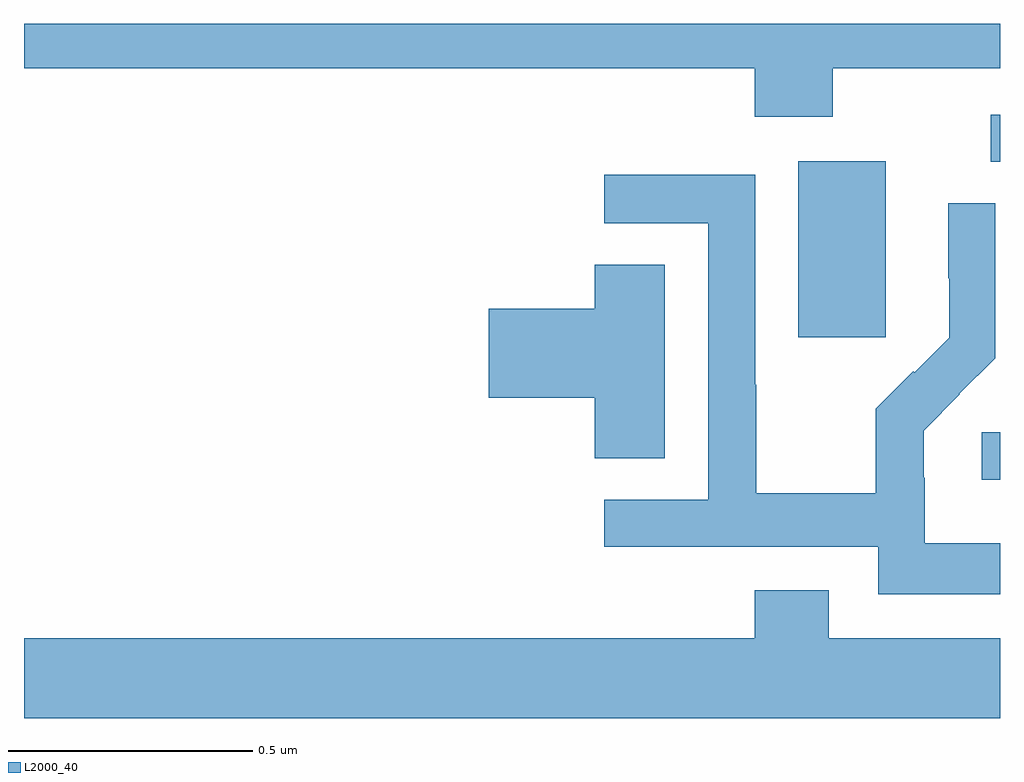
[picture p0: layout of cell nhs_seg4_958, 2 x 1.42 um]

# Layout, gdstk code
import gdstk
lib = gdstk.Library(unit=1e-6, precision=1e-09)
def R(c, l, rs):  # rectangles x0, y0, x1, y1
    for r in rs: c.add(gdstk.rectangle(r[:2], r[2:], *l))
def P(c, l, *ps):  # polygons
    for p in ps: c.add(gdstk.Polygon(p, *l))
L2000_40 = (2000, 40)

nhs_seg4_958 = lib.new_cell('nhs_seg4_958')
R(nhs_seg4_958, L2000_40, [(123.963,807.965,124,808.062), (123.587,808.257,123.766,808.618), (123.981,808.617,124,808.713)])
P(nhs_seg4_958, L2000_40, [(123.657,808.808),(124,808.808),(124,808.9),(122,808.9),(122,808.808),(123.497,808.808),(123.497,808.709),(123.657,808.709)],
  [(124,807.835),(123.846,807.835),(123.846,807.969),(123.844,807.969),(123.844,808.066),(123.918,808.14),(123.917,808.141),(123.99,808.214),(123.99,808.532),(123.894,808.532),(123.894,808.378),(123.896,808.378),(123.896,808.256),(123.825,808.185),(123.822,808.188),(123.745,808.111),(123.745,807.937),(123.501,807.937),(123.501,808.16),(123.498,808.16),(123.498,808.59),(123.189,808.59),(123.189,808.491),(123.402,808.491),(123.402,807.924),(123.189,807.924),(123.189,807.828),(123.75,807.828),(123.75,807.731),(124,807.731)],
  [(123.313,808.406),(123.17,808.406),(123.17,808.316),(122.952,808.316),(122.952,808.133),(123.17,808.133),(123.17,808.009),(123.313,808.009)],
  [(124,807.64),(123.649,807.64),(123.649,807.739),(123.497,807.739),(123.497,807.64),(122,807.64),(122,807.476),(124,807.476)])

lib.write_gds('nhs_seg4_958.gds')
